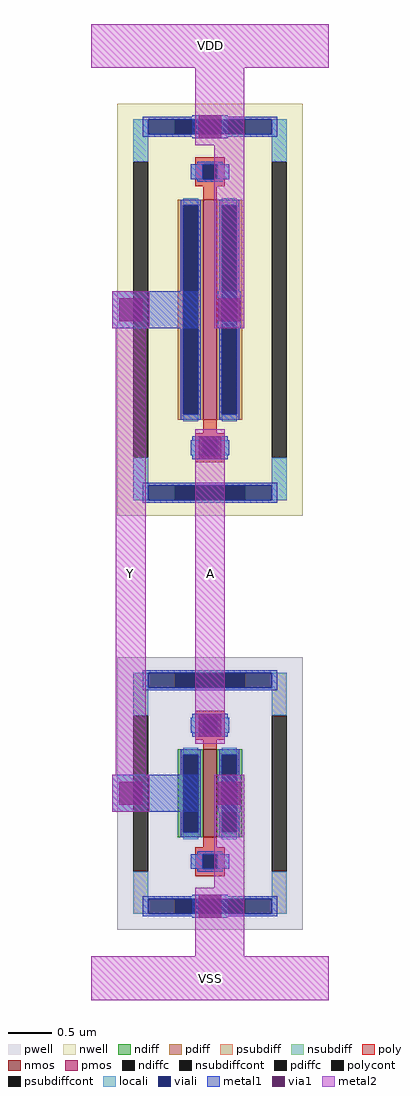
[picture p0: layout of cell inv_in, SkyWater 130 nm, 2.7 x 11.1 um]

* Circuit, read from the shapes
.subckt inv_in A Y VDD VSS
XM1 VSS A Y VSS sky130_fd_pr__nfet_01v8 w=1 l=0.15
XM2 VDD A Y VDD sky130_fd_pr__pfet_01v8 w=2.5 l=0.15
.ends

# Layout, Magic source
magic
tech sky130A
magscale 1 2
<< metal1 >>
rect 18 -42 70 42
rect -40 -283 40 -231
rect 18 1058 70 1142
rect -40 1490 40 1542
rect -40 129 40 181
rect -40 760 40 812
rect -222 -42 -21 42
rect -222 1058 -21 1142
rect -222 -42 -138 42
rect -222 1058 -138 1142
<< via1 >>
rect 18 -26 70 26
rect -26 -283 26 -231
rect 18 1074 70 1126
rect -26 1490 26 1542
rect -26 129 26 181
rect -26 760 26 812
rect -206 -26 -154 26
rect -206 1074 -154 1126
<< metal2 >>
rect -270 -470 270 -370
rect -270 1650 270 1750
rect 10 -42 78 42
rect 10 -454 78 34
rect -34 -299 34 -215
rect -34 -454 34 -223
rect 10 1058 78 1142
rect 10 1066 78 1734
rect -34 1474 34 1558
rect -34 1482 34 1734
rect -34 113 34 197
rect -34 744 34 828
rect -34 121 34 820
rect -222 -42 -138 42
rect -222 1058 -138 1142
rect -214 -34 -146 1134
use dev_n_inv_in XMN
transform 1 0 0 0 1 0
box -211 -310 211 310
use dev_p_inv_in XMP
transform 1 0 0 0 1 1100
box -211 -469 211 469
<< labels >>
rlabel metal2 -20 480 20 520 1 A
port 1 nsew
rlabel metal2 -200 480 -160 520 1 Y
port 2 nsew
rlabel metal2 -40 1670 40 1730 1 VDD
port 3 nsew
rlabel metal2 -40 -450 40 -390 1 VSS
port 4 nsew
<< properties >>
string FIXED_BBOX -270 -470 270 1750
<< end >>

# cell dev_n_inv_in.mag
magic
tech sky130A
magscale 1 2
<< pwell >>
rect -211 -310 211 310
<< nmos >>
rect -15 -100 15 100
<< ndiff >>
rect -73 88 -15 100
rect -73 -88 -61 88
rect -27 -88 -15 88
rect -73 -100 -15 -88
rect 15 88 73 100
rect 15 -88 27 88
rect 61 -88 73 88
rect 15 -100 73 -88
<< ndiffc >>
rect -61 -88 -27 88
rect 27 -88 61 88
<< psubdiff >>
rect -175 240 -79 274
rect 79 240 175 274
rect -175 178 -141 240
rect 141 178 175 240
rect -175 -240 -141 -178
rect 141 -240 175 -178
rect -175 -274 -79 -240
rect 79 -274 175 -240
<< psubdiffcont >>
rect -79 240 79 274
rect -175 -178 -141 178
rect 141 -178 175 178
rect -79 -274 79 -240
<< poly >>
rect -33 172 33 188
rect -33 138 -17 172
rect 17 138 33 172
rect -33 122 33 138
rect -15 100 15 122
rect -15 -122 15 -100
rect -33 -138 33 -122
rect -33 -172 -17 -138
rect 17 -172 33 -138
rect -33 -188 33 -172
<< polycont >>
rect -17 138 17 172
rect -17 -172 17 -138
<< locali >>
rect -175 178 -141 274
rect 141 178 175 274
rect -44 138 -17 172
rect 17 138 44 172
rect -61 88 -27 104
rect -61 -104 -27 -88
rect 27 88 61 104
rect 27 -104 61 -88
rect -44 -172 -17 -138
rect 17 -172 44 -138
rect -175 -274 -141 -178
rect 141 -274 175 -178
<< viali >>
rect -141 240 -79 274
rect -79 240 79 274
rect 79 240 141 274
rect -17 138 17 172
rect -61 -88 -27 88
rect 27 -88 61 88
rect -17 -172 17 -138
rect -141 -274 -79 -240
rect -79 -274 79 -240
rect 79 -274 141 -240
<< metal1 >>
rect -153 274 153 280
rect -153 240 -141 274
rect 141 240 153 274
rect -153 234 153 240
rect -29 172 29 178
rect -44 138 -17 172
rect 17 138 44 172
rect -29 132 29 138
rect -67 88 -21 100
rect -67 -88 -61 88
rect -27 -88 -21 88
rect -67 -100 -21 -88
rect 21 88 67 100
rect 21 -88 27 88
rect 61 -88 67 88
rect 21 -100 67 -88
rect -29 -138 29 -132
rect -44 -172 -17 -138
rect 17 -172 44 -138
rect -29 -178 29 -172
rect -153 -240 153 -234
rect -153 -274 -141 -240
rect 141 -274 153 -240
rect -153 -280 153 -274
<< properties >>
string FIXED_BBOX -158 -257 158 257
<< end >>

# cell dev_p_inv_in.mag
magic
tech sky130A
magscale 1 2
<< nwell >>
rect -211 -469 211 469
<< pmos >>
rect -15 -250 15 250
<< pdiff >>
rect -73 238 -15 250
rect -73 -238 -61 238
rect -27 -238 -15 238
rect -73 -250 -15 -238
rect 15 238 73 250
rect 15 -238 27 238
rect 61 -238 73 238
rect 15 -250 73 -238
<< pdiffc >>
rect -61 -238 -27 238
rect 27 -238 61 238
<< nsubdiff >>
rect -175 399 -79 433
rect 79 399 175 433
rect -175 337 -141 399
rect 141 337 175 399
rect -175 -399 -141 -337
rect 141 -399 175 -337
rect -175 -433 -79 -399
rect 79 -433 175 -399
<< nsubdiffcont >>
rect -79 399 79 433
rect -175 -337 -141 337
rect 141 -337 175 337
rect -79 -433 79 -399
<< poly >>
rect -33 331 33 347
rect -33 297 -17 331
rect 17 297 33 331
rect -33 281 33 297
rect -15 250 15 281
rect -15 -281 15 -250
rect -33 -297 33 -281
rect -33 -331 -17 -297
rect 17 -331 33 -297
rect -33 -347 33 -331
<< polycont >>
rect -17 297 17 331
rect -17 -331 17 -297
<< locali >>
rect -175 337 -141 433
rect 141 337 175 433
rect -44 297 -17 331
rect 17 297 44 331
rect -61 238 -27 254
rect -61 -254 -27 -238
rect 27 238 61 254
rect 27 -254 61 -238
rect -44 -331 -17 -297
rect 17 -331 44 -297
rect -175 -433 -141 -337
rect 141 -433 175 -337
<< viali >>
rect -141 399 -79 433
rect -79 399 79 433
rect 79 399 141 433
rect -17 297 17 331
rect -61 -238 -27 238
rect 27 -238 61 238
rect -17 -331 17 -297
rect -141 -433 -79 -399
rect -79 -433 79 -399
rect 79 -433 141 -399
<< metal1 >>
rect -153 433 153 439
rect -153 399 -141 433
rect 141 399 153 433
rect -153 393 153 399
rect -29 331 29 337
rect -44 297 -17 331
rect 17 297 44 331
rect -29 291 29 297
rect -67 238 -21 250
rect -67 -238 -61 238
rect -27 -238 -21 238
rect -67 -250 -21 -238
rect 21 238 67 250
rect 21 -238 27 238
rect 61 -238 67 238
rect 21 -250 67 -238
rect -29 -297 29 -291
rect -44 -331 -17 -297
rect 17 -331 44 -297
rect -29 -337 29 -331
rect -153 -399 153 -393
rect -153 -433 -141 -399
rect 141 -433 153 -399
rect -153 -439 153 -433
<< properties >>
string FIXED_BBOX -158 -416 158 416
<< end >>
